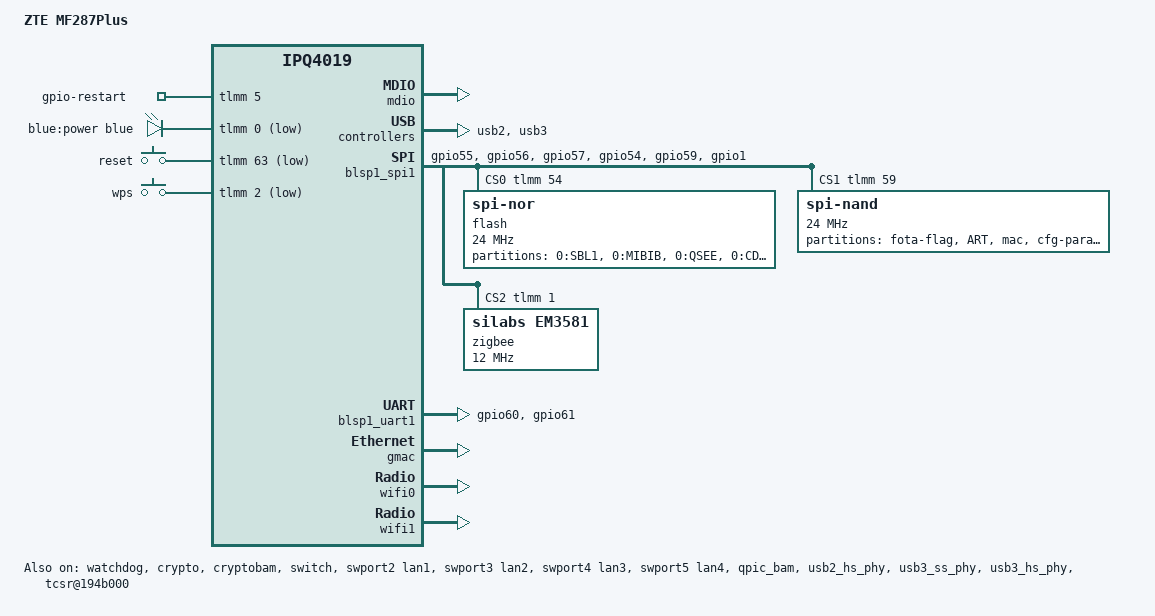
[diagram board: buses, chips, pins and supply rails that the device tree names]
// SPDX-License-Identifier: GPL-2.0-or-later OR MIT
// Copyright (c) 2022, Pawel Dembicki <paweldembicki@gmail.com>.
// Copyright (c) 2022, Giammarco Marzano <stich86@gmail.com>.
// Copyright (c) 2023, Andreas Böhler <dev@aboehler.at>

#include "qcom-ipq4019.dtsi"
#include <dt-bindings/soc/qcom,tcsr.h>
#include <dt-bindings/gpio/gpio.h>
#include <dt-bindings/input/input.h>
#include <dt-bindings/leds/common.h>

/ {
	model = "ZTE MF287Plus";
	compatible = "zte,mf287plus";

	aliases {
		led-boot = &led_status;
		led-failsafe = &led_status;
		led-running = &led_status;
		led-upgrade = &led_status;
	};

	chosen {
		/*
		 * bootargs forced by u-boot bootipq command:
		 * 'ubi.mtd=rootfs root=mtd:ubi_rootfs rootfstype=squashfs rootwait'
		 */
		bootargs-append = " root=/dev/ubiblock0_1";
	};

	/*
	 * This node is used to restart modem module to avoid anomalous
	 * behaviours on initial communication.
	 */
	gpio-restart {
		compatible = "gpio-restart";
		gpios = <&tlmm 5 GPIO_ACTIVE_HIGH>;
	};

	leds {
		compatible = "gpio-leds";

		led_status: led-0 {
			label = "blue:power";
			function = LED_FUNCTION_POWER;
			color = <LED_COLOR_ID_BLUE>;
			gpios = <&tlmm 0 GPIO_ACTIVE_LOW>;
		};
	};

	keys {
		compatible = "gpio-keys";

		key-reset {
			label = "reset";
			linux,code = <KEY_RESTART>;
			gpios = <&tlmm 63 GPIO_ACTIVE_LOW>;
		};

		key-wps {
			label = "wps";
			linux,code = <KEY_WPS_BUTTON>;
			gpios = <&tlmm 2 GPIO_ACTIVE_LOW>;
		};
	};

	soc {
		rng@22000 {
			status = "okay";
		};

		tcsr@1949000 {
			compatible = "qcom,tcsr";
			reg = <0x1949000 0x100>;
			qcom,wifi_glb_cfg = <TCSR_WIFI_GLB_CFG>;
		};

		tcsr@194b000 {
			/* select hostmode */
			compatible = "qcom,tcsr";
			reg = <0x194b000 0x100>;
			qcom,usb-hsphy-mode-select = <TCSR_USB_HSPHY_HOST_MODE>;
			status = "okay";
		};

		ess_tcsr@1953000 {
			compatible = "qcom,tcsr";
			reg = <0x1953000 0x1000>;
			qcom,ess-interface-select = <TCSR_ESS_PSGMII>;
		};

		tcsr@1957000 {
			compatible = "qcom,tcsr";
			reg = <0x1957000 0x100>;
			qcom,wifi_noc_memtype_m0_m2 = <TCSR_WIFI_NOC_MEMTYPE_M0_M2>;
		};
	};
};

&mdio {
	status = "okay";
};

&watchdog {
	status = "okay";
};

&blsp_dma {
	status = "okay";
};

&usb2 {
	status = "okay";
};

&usb3 {
	status = "okay";
};

&blsp1_spi1 {
	pinctrl-0 = <&spi_0_pins>;
	pinctrl-names = "default";
	status = "okay";
	cs-gpios = <&tlmm 54 GPIO_ACTIVE_HIGH>,
		   <&tlmm 59 GPIO_ACTIVE_HIGH>,
		   <&tlmm 1 GPIO_ACTIVE_HIGH>;

	flash@0 {
		compatible = "jedec,spi-nor";
		#address-cells = <1>;
		#size-cells = <1>;
		reg = <0>;
		spi-max-frequency = <24000000>;

		partitions {
			compatible = "fixed-partitions";
			#address-cells = <1>;
			#size-cells = <1>;

			partition@0 {
				label = "0:SBL1";
				reg = <0x0 0x40000>;
				read-only;
			};

			partition@40000 {
				label = "0:MIBIB";
				reg = <0x40000 0x20000>;
				read-only;
			};

			partition@60000 {
				label = "0:QSEE";
				reg = <0x60000 0x60000>;
				read-only;
			};

			partition@c0000 {
				label = "0:CDT";
				reg = <0xc0000 0x10000>;
				read-only;
			};

			partition@d0000 {
				label = "0:DDRPARAMS";
				reg = <0xd0000 0x10000>;
				read-only;
			};

			partition@e0000 {
				label = "0:APPSBLENV";
				reg = <0xe0000 0x10000>;
				read-only;
			};

			partition@f0000 {
				label = "0:APPSBL";
				reg = <0xf0000 0xc0000>;
				read-only;
			};

			partition@1b0000 {
				label = "0:reserved1";
				reg = <0x1b0000 0x50000>;
				read-only;
			};
		};
	};

	spi-nand@1 { /* flash@1 ? */
		compatible = "spi-nand";
		reg = <1>;
		spi-max-frequency = <24000000>;

		partitions {
			compatible = "fixed-partitions";
			#address-cells = <1>;
			#size-cells = <1>;

			partition@0 {
				label = "fota-flag";
				reg = <0x0 0x140000>;
				read-only;
			};

			partition@140000 {
				label = "ART";
				reg = <0x140000 0x140000>;
				read-only;
				compatible = "nvmem-cells";
				#address-cells = <1>;
				#size-cells = <1>;

				precal_art_1000: precal@1000 {
					reg = <0x1000 0x2f20>;
				};

				precal_art_5000: precal@5000 {
					reg = <0x5000 0x2f20>;
				};
			};

			partition@280000 {
				label = "mac";
				reg = <0x280000 0x140000>;
				read-only;
				compatible = "nvmem-cells";
				#address-cells = <1>;
				#size-cells = <1>;

				macaddr_mac_0: macaddr@0 {
					reg = <0x0 0x6>;
				};
			};

			partition@3c0000 {
				label = "cfg-param";
				reg = <0x3c0000 0x600000>;
				read-only;
			};

			partition@9c0000 {
				label = "oops";
				reg = <0x9c0000 0x140000>;
			};

			partition@b00000 {
				label = "web";
				reg = <0xb00000 0x800000>;
			};

			partition@1300000 {
				label = "rootfs";
				reg = <0x1300000 0x2200000>;
			};

			partition@3500000 {
				label = "data";
				reg = <0x3500000 0x1900000>;
			};

			partition@4e00000 {
				label = "fota";
				reg = <0x4e00000 0x3200000>;
			};
		};
	};

	zigbee@2 {
		#address-cells = <1>;
		#size-cells = <0>;

		compatible = "silabs,em3581";
		reg = <2>;
		spi-max-frequency = <12000000>;
	};
};

&blsp1_uart1 {
	pinctrl-0 = <&serial_pins>;
	pinctrl-names = "default";
	status = "okay";
};

&crypto {
	status = "okay";
};

&cryptobam {
	status = "okay";
};

&gmac {
	status = "okay";
	nvmem-cell-names = "mac-address";
	nvmem-cells = <&macaddr_mac_0>;
	mac-address-increment = <2>;
};

&switch {
	status = "okay";
};

&swport2 {
	status = "okay";

	label = "lan1";
};

&swport3 {
	status = "okay";

	label = "lan2";
};

&swport4 {
	status = "okay";

	label = "lan3";
};

&swport5 {
	status = "okay";

	label = "lan4";
};

&qpic_bam {
	status = "okay";
};

&tlmm {
	serial_pins: serial_pinmux {
		mux {
			pins = "gpio60", "gpio61";
			function = "blsp_uart0";
			bias-disable;
		};
	};

	spi_0_pins: spi_0_pinmux {
		pinmux {
			function = "blsp_spi0";
			pins = "gpio55", "gpio56", "gpio57";
			drive-strength = <12>;
			bias-disable;
		};

		pinmux_cs {
			function = "gpio";
			pins = "gpio54", "gpio59", "gpio1";
			drive-strength = <2>;
			bias-disable;
			output-high;
		};
	};
};

&usb2_hs_phy {
	status = "okay";
};

&usb3_ss_phy {
	status = "okay";
};

&usb3_hs_phy {
	status = "okay";
};

&wifi0 {
	status = "okay";
	nvmem-cell-names = "pre-calibration", "mac-address";
	nvmem-cells = <&precal_art_1000>, <&macaddr_mac_0>;
	qcom,ath10k-calibration-variant = "zte,mf287plus";
};

&wifi1 {
	status = "okay";
	nvmem-cell-names = "pre-calibration", "mac-address";
	nvmem-cells = <&precal_art_5000>, <&macaddr_mac_0>;
	mac-address-increment = <1>;
	qcom,ath10k-calibration-variant = "zte,mf287plus";
};
